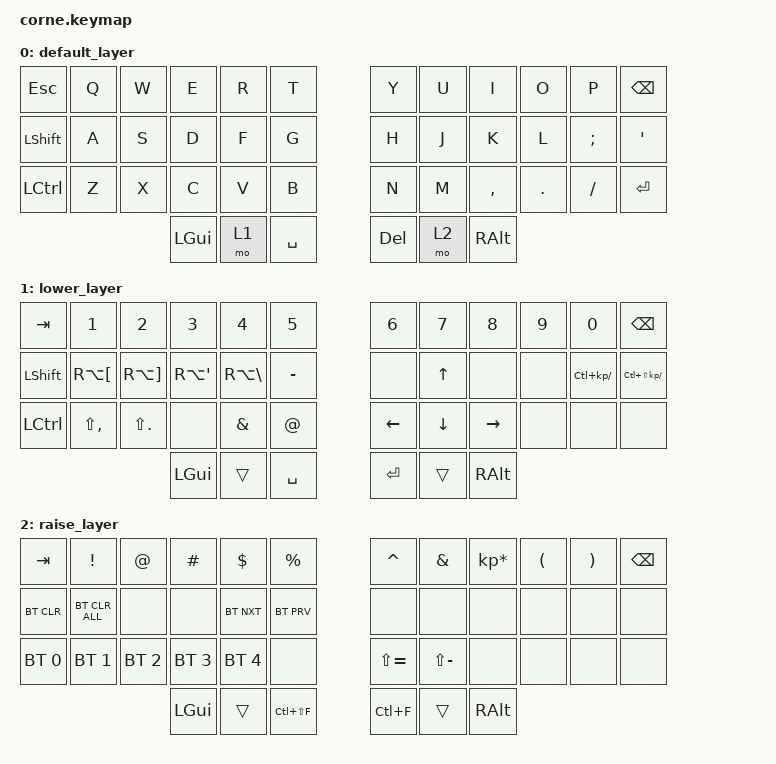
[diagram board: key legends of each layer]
/*
 * Copyright (c) 2020 The ZMK Contributors
 *
 * SPDX-License-Identifier: MIT
 */

#include <behaviors.dtsi>
#include <dt-bindings/zmk/bt.h>
#include <dt-bindings/zmk/keys.h>

/ {
    macros {
        comment_lines: comment_lines {
            compatible = "zmk,behavior-macro";
            #binding-cells = <0>;
            bindings = <&macro_tap>, <&kp LEFT_CONTROL &kp SLASH>;

            label = "COMMENT_LINES";
        };

        comment_block: comment_block {
            compatible = "zmk,behavior-macro";
            #binding-cells = <0>;
            bindings =
                <&macro_press>,
                <&kp LEFT_ALT &kp LEFT_COMMAND &kp SLASH>;

            label = "COMMENT_BLOCK";
        };

        shortcut: shortcut {
            compatible = "zmk,behavior-macro";
            #binding-cells = <0>;
            bindings = <&macro_press>, <&kp LEFT_COMMAND &kp LEFT_SHIFT &kp N5>;

            label = "SHORTCUT";
        };
    };

    combos {
        compatible = "zmk,combos";

        shiftx2 {
            bindings = <&key_repeat>;
            key-positions = <12>;
        };
    };

    keymap {
        compatible = "zmk,keymap";

        default_layer {
            // -----------------------------------------------------------------------------------------
            // |  TAB |  Q  |  W  |  E  |  R  |  T  |   |  Y  |  U   |  I  |  O  |  P  | BKSP |
            // | CTRL |  A  |  S  |  D  |  F  |  G  |   |  H  |  J   |  K  |  L  |  ;  |  '   |
            // | SHFT |  Z  |  X  |  C  |  V  |  B  |   |  N  |  M   |  ,  |  .  |  /  | ESC  |
            //                    | GUI | LWR | SPC |   | ENT | RSE  | ALT |

            bindings = <
&kp ESC         &kp Q  &kp W  &kp E     &kp R  &kp T        &kp Y    &kp U  &kp I      &kp O    &kp P     &kp BSPC
&kp LEFT_SHIFT  &kp A  &kp S  &kp D     &kp F  &kp G        &kp H    &kp J  &kp K      &kp L    &kp SEMI  &kp SQT
&kp LCTRL       &kp Z  &kp X  &kp C     &kp V  &kp B        &kp N    &kp M  &kp COMMA  &kp DOT  &kp FSLH  &kp ENTER
                              &kp LGUI  &mo 1  &kp SPACE    &kp DEL  &mo 2  &kp RALT
            >;
        };

        lower_layer {
            // -----------------------------------------------------------------------------------------
            // |  TAB |  1  |  2  |  3  |  4  |  5  |   |  6  |  7  |  8  |  9  |  0  | BKSP |
            // | BTCLR| BT1 | BT2 | BT3 | BT4 | BT5 |   | LFT | DWN |  UP | RGT |     |      |
            // | SHFT |     |     |     |     |     |   |     |     |     |     |     |      |
            //                    | GUI |     | SPC |   | ENT |     | ALT |

            bindings = <
&kp TAB    &kp N1         &kp N2          &kp N3        &kp N4             &kp N5       &kp N6    &kp N7        &kp N8     &kp N9  &kp N0             &kp BSPC
&kp LSHFT  &kp RA(LBKT)   &kp RA(RBKT)    &kp RA(APOS)  &kp RA(BACKSLASH)  &kp MINUS    &none     &kp UP_ARROW  &none      &none   &kp LC(KP_DIVIDE)  &kp LC(LS(KP_DIVIDE))
&kp LCTRL  &kp LS(COMMA)  &kp LS(PERIOD)  &none         &kp AMPERSAND      &kp AT       &kp LEFT  &kp DOWN      &kp RIGHT  &none   &none              &none
                                          &kp LGUI      &trans             &kp SPACE    &kp RET   &trans        &kp RALT
            >;
        };

        raise_layer {
            // -----------------------------------------------------------------------------------------
            // |  TAB |  !  |  @  |  #  |  $  |  %  |   |  ^  |  &  |  *  |  (  |  )  | BKSP |
            // | CTRL |     |     |     |     |     |   |  -  |  =  |  [  |  ]  |  \  |  `   |
            // | SHFT |     |     |     |     |     |   |  _  |  +  |  {  |  }  | "|" |  ~   |
            //                    | GUI |     | SPC |   | ENT |     | ALT |

            bindings = <
&kp TAB       &kp EXCL        &kp AT        &kp HASH      &kp DLLR      &kp PRCNT        &kp CARET      &kp AMPS       &kp KP_MULTIPLY  &kp LPAR  &kp RPAR  &kp BSPC
&bt BT_CLR    &bt BT_CLR_ALL  &none         &none         &bt BT_NXT    &bt BT_PRV       &none          &none          &none            &none     &none     &none
&bt BT_SEL 0  &bt BT_SEL 1    &bt BT_SEL 2  &bt BT_SEL 3  &bt BT_SEL 4  &none            &kp LS(EQUAL)  &kp LS(MINUS)  &none            &none     &none     &none
                                            &kp LGUI      &trans        &kp LC(LS(F))    &kp LC(F)      &trans         &kp RALT
            >;
        };
    };
};
